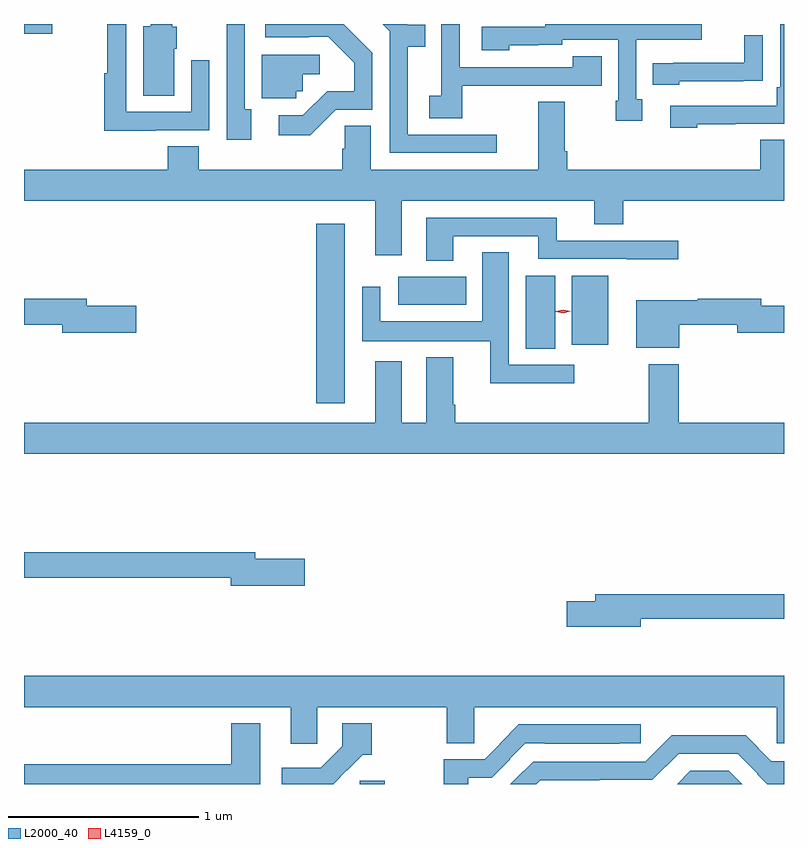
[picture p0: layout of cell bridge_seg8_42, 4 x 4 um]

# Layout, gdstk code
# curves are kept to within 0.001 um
import gdstk
lib = gdstk.Library(unit=1e-6, precision=1e-09)
def R(c, l, rs):  # rectangles x0, y0, x1, y1
    for r in rs: c.add(gdstk.rectangle(r[:2], r[2:], *l))
def P(c, l, *ps):  # polygons
    for p in ps: c.add(gdstk.Polygon(p, *l))
L2000_40 = (2000, 40)
L4159_0 = (4159, 0)

bridge_seg8_42 = lib.new_cell('bridge_seg8_42')
R(bridge_seg8_42, L2000_40, [(886.411,1125.419,886.543,1125.435), (886.184,1127.424,886.333,1128.367), (887.285,1127.71,887.44,1128.094), (887.528,1127.732,887.719,1128.094), (886.614,1127.942,886.972,1128.088), (884.645,1129.367,884.794,1129.419)])
P(bridge_seg8_42, L2000_40, [(887.134,1128.837),(886.666,1128.837),(886.666,1129.3),(886.757,1129.3),(886.757,1129.414),(886.662,1129.414),(886.662,1129.419),(886.532,1129.419),(886.569,1129.382),(886.569,1128.741),(887.134,1128.741)],
  [(885.436,1129.29),(885.448,1129.29),(885.448,1129.404),(885.426,1129.404),(885.426,1129.419),(885.312,1129.419),(885.312,1129.408),(885.272,1129.408),(885.272,1129.042),(885.436,1129.042)],
  [(885.337,1128.861),(885.621,1128.861),(885.621,1129.228),(885.525,1129.228),(885.525,1128.957),(885.183,1128.957),(885.183,1129.419),(885.082,1129.419),(885.082,1129.161),(885.067,1129.161),(885.067,1128.857),(885.337,1128.857)],
  [(885.841,1128.97),(885.807,1128.97),(885.807,1129.419),(885.711,1129.419),(885.711,1128.81),(885.841,1128.81)],
  [(887.899,1129.024),(887.868,1129.024),(887.868,1129.335),(888.211,1129.335),(888.211,1129.419),(887.388,1129.419),(887.388,1129.404),(887.055,1129.404),(887.055,1129.28),(887.199,1129.28),(887.199,1129.308),(887.351,1129.308),(887.351,1129.31),(887.478,1129.31),(887.478,1129.335),(887.772,1129.335),(887.772,1129.014),(887.759,1129.014),(887.759,1128.91),(887.899,1128.91)],
  [(886.951,1129.093),(887.255,1129.093),(887.255,1129.095),(887.687,1129.095),(887.687,1129.25),(887.533,1129.25),(887.533,1129.191),(886.938,1129.191),(886.938,1129.419),(886.842,1129.419),(886.842,1129.041),(886.779,1129.041),(886.779,1128.922),(886.951,1128.922)],
  [(886.287,1128.969),(886.479,1128.969),(886.479,1129.267),(886.327,1129.419),(885.915,1129.419),(885.915,1129.35),(886.145,1129.35),(886.145,1129.353),(886.245,1129.353),(886.382,1129.216),(886.382,1129.066),(886.24,1129.066),(886.113,1128.939),(885.987,1128.939),(885.987,1128.834),(886.151,1128.834)],
  [(888.189,1128.892),(888.389,1128.892),(888.389,1128.894),(888.645,1128.894),(888.645,1129.419),(888.624,1129.419),(888.624,1129.087),(888.607,1129.087),(888.607,1128.99),(888.045,1128.99),(888.045,1128.872),(888.189,1128.872)],
  [(888.093,1129.119),(888.431,1129.119),(888.431,1129.12),(888.533,1129.12),(888.533,1129.361),(888.436,1129.361),(888.436,1129.215),(888.061,1129.215),(888.061,1129.213),(887.953,1129.213),(887.953,1129.1),(888.093,1129.1)],
  [(886.077,1129.065),(886.113,1129.065),(886.113,1129.154),(886.201,1129.154),(886.201,1129.257),(885.896,1129.257),(885.896,1129.029),(886.077,1129.029)],
  [(886.633,1128.488),(887.645,1128.488),(887.645,1128.364),(887.798,1128.364),(887.798,1128.488),(888.645,1128.488),(888.645,1128.809),(888.521,1128.809),(888.521,1128.652),(887.504,1128.652),(887.504,1128.748),(887.491,1128.748),(887.491,1129.01),(887.351,1129.01),(887.351,1128.652),(886.471,1128.652),(886.471,1128.884),(886.332,1128.884),(886.332,1128.762),(886.319,1128.762),(886.319,1128.652),(885.566,1128.652),(885.566,1128.776),(885.401,1128.776),(885.401,1128.652),(884.645,1128.652),(884.645,1128.488),(886.493,1128.488),(886.493,1128.201),(886.633,1128.201)],
  [(886.903,1128.303),(887.351,1128.303),(887.351,1128.183),(887.815,1128.183),(887.815,1128.182),(888.088,1128.182),(888.088,1128.279),(887.45,1128.279),(887.45,1128.399),(886.763,1128.399),(886.763,1128.174),(886.903,1128.174)],
  [(887.542,1127.625),(887.197,1127.625),(887.197,1128.218),(887.057,1128.218),(887.057,1127.854),(886.521,1127.854),(886.521,1128.037),(886.425,1128.037),(886.425,1127.75),(887.099,1127.75),(887.099,1127.528),(887.542,1127.528)],
  [(888.094,1127.836),(888.398,1127.836),(888.398,1127.794),(888.645,1127.794),(888.645,1127.936),(888.526,1127.936),(888.526,1127.972),(888.19,1127.972),(888.19,1127.965),(887.867,1127.965),(887.867,1127.714),(888.094,1127.714)],
  [(885.235,1127.936),(884.974,1127.936),(884.974,1127.972),(884.645,1127.972),(884.645,1127.836),(884.846,1127.836),(884.846,1127.794),(885.235,1127.794)],
  [(888.645,1127.32),(888.092,1127.32),(888.092,1127.629),(887.932,1127.629),(887.932,1127.32),(886.916,1127.32),(886.916,1127.416),(886.903,1127.416),(886.903,1127.665),(886.763,1127.665),(886.763,1127.32),(886.633,1127.32),(886.633,1127.644),(886.493,1127.644),(886.493,1127.32),(884.645,1127.32),(884.645,1127.156),(888.645,1127.156)],
  [(886.123,1126.604),(885.862,1126.604),(885.862,1126.64),(884.645,1126.64),(884.645,1126.504),(885.734,1126.504),(885.734,1126.462),(886.123,1126.462)],
  [(887.89,1126.29),(888.645,1126.29),(888.645,1126.418),(887.651,1126.418),(887.651,1126.382),(887.502,1126.382),(887.502,1126.247),(887.89,1126.247)],
  [(886.188,1125.824),(886.87,1125.824),(886.87,1125.634),(887.016,1125.634),(887.016,1125.824),(888.607,1125.824),(888.607,1125.633),(888.645,1125.633),(888.645,1125.988),(884.645,1125.988),(884.645,1125.824),(886.049,1125.824),(886.049,1125.63),(886.188,1125.63)],
  [(886.346,1125.493),(886.347,1125.492),(886.427,1125.572),(886.476,1125.572),(886.476,1125.739),(886.32,1125.739),(886.32,1125.618),(886.206,1125.504),(886.001,1125.504),(886.001,1125.419),(886.272,1125.419)],
  [(885.889,1125.739),(885.737,1125.739),(885.737,1125.523),(884.645,1125.523),(884.645,1125.419),(885.889,1125.419)],
  [(886.984,1125.453),(887.107,1125.453),(887.204,1125.55),(887.202,1125.552),(887.283,1125.633),(887.89,1125.633),(887.89,1125.733),(887.25,1125.733),(887.149,1125.632),(887.151,1125.63),(887.07,1125.549),(886.855,1125.549),(886.855,1125.419),(886.984,1125.419)],
  [(887.363,1125.44),(887.952,1125.441),(888.09,1125.579),(888.402,1125.579),(888.507,1125.474),(888.504,1125.471),(888.557,1125.419),(888.645,1125.419),(888.645,1125.54),(888.579,1125.54),(888.443,1125.676),(888.055,1125.676),(887.916,1125.537),(887.324,1125.537),(887.228,1125.441),(887.227,1125.442),(887.204,1125.419),(887.342,1125.419)],
  [(888.355,1125.489),(888.152,1125.489),(888.082,1125.419),(888.425,1125.419)])
P(bridge_seg8_42, L4159_0, [(887.484,1127.896),(887.444,1127.905),(887.444,1127.905),(887.444,1127.906),(887.484,1127.916),(887.523,1127.906),(887.523,1127.906),(887.523,1127.906)])

lib.write_gds('bridge_seg8_42.gds')
